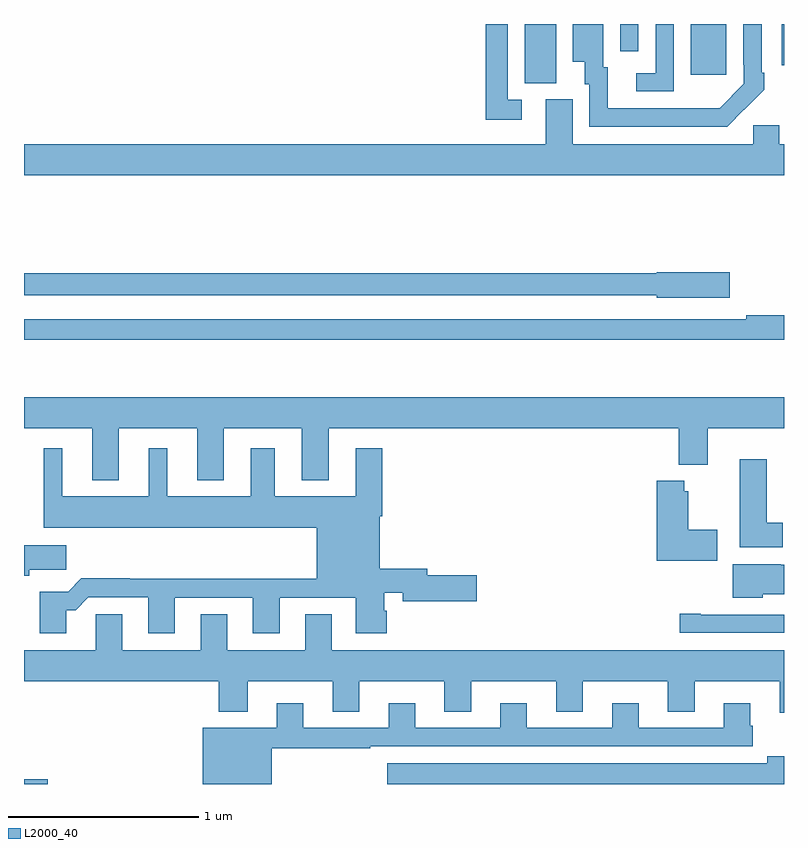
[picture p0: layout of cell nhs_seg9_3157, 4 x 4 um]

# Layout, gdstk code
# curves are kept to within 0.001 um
import gdstk
lib = gdstk.Library(unit=1e-6, precision=1e-09)
def R(c, l, rs):  # rectangles x0, y0, x1, y1
    for r in rs: c.add(gdstk.rectangle(r[:2], r[2:], *l))
def P(c, l, *ps):  # polygons
    for p in ps: c.add(gdstk.Polygon(p, *l))
L2000_40 = (2000, 40)

nhs_seg9_3157 = lib.new_cell('nhs_seg9_3157')
R(nhs_seg9_3157, L2000_40, [(291,1242.5,291.124,1242.524), (293.636,1246.189,293.8,1246.5), (294.509,1246.233,294.697,1246.5), (294.987,1246.284,295,1246.5), (294.138,1246.356,294.234,1246.5)])
P(nhs_seg9_3157, L2000_40, [(293.62,1246.101),(293.547,1246.101),(293.547,1246.5),(293.431,1246.5),(293.431,1245.996),(293.62,1245.996)],
  [(294.42,1246.5),(294.324,1246.5),(294.324,1246.242),(294.222,1246.242),(294.222,1246.146),(294.42,1246.146)],
  [(294.791,1246.051),(294.792,1246.05),(294.897,1246.155),(294.897,1246.243),(294.882,1246.243),(294.882,1246.5),(294.786,1246.5),(294.786,1246.285),(294.789,1246.285),(294.789,1246.185),(294.661,1246.057),(294.557,1246.056),(294.073,1246.056),(294.073,1246.272),(294.049,1246.272),(294.049,1246.498),(293.888,1246.498),(293.888,1246.301),(293.951,1246.301),(293.951,1246.182),(293.976,1246.182),(293.976,1245.96),(294.7,1245.96)],
  [(295,1245.868),(294.976,1245.868),(294.976,1245.966),(294.837,1245.966),(294.837,1245.868),(293.887,1245.868),(293.887,1246.104),(293.747,1246.104),(293.747,1245.868),(291,1245.868),(291,1245.704),(295,1245.704)],
  [(294.715,1245.194),(294.33,1245.194),(294.33,1245.188),(291,1245.188),(291,1245.072),(294.33,1245.072),(294.33,1245.059),(294.715,1245.059)],
  [(295,1244.966),(294.802,1244.966),(294.802,1244.946),(291,1244.946),(291,1244.838),(295,1244.838)],
  [(291.499,1244.372),(291.911,1244.372),(291.911,1244.099),(292.051,1244.099),(292.051,1244.372),(292.463,1244.372),(292.463,1244.099),(292.603,1244.099),(292.603,1244.372),(294.446,1244.372),(294.446,1244.18),(294.598,1244.18),(294.598,1244.372),(295,1244.372),(295,1244.536),(291,1244.536),(291,1244.372),(291.359,1244.372),(291.359,1244.099),(291.499,1244.099)],
  [(291.223,1243.415),(291.272,1243.415),(291.339,1243.482),(291.653,1243.482),(291.653,1243.293),(291.793,1243.293),(291.793,1243.479),(292.205,1243.479),(292.205,1243.293),(292.345,1243.293),(292.345,1243.479),(292.745,1243.479),(292.745,1243.293),(292.91,1243.293),(292.91,1243.413),(292.897,1243.413),(292.897,1243.506),(292.994,1243.506),(292.994,1243.463),(293.383,1243.463),(293.383,1243.598),(293.122,1243.598),(293.122,1243.634),(292.873,1243.634),(292.873,1243.91),(292.886,1243.91),(292.886,1244.266),(292.745,1244.266),(292.745,1244.014),(292.321,1244.014),(292.321,1244.266),(292.193,1244.266),(292.193,1244.014),(291.754,1244.014),(291.754,1244.266),(291.656,1244.266),(291.656,1244.014),(291.202,1244.014),(291.202,1244.266),(291.104,1244.266),(291.104,1243.85),(292.541,1243.85),(292.541,1243.58),(291.557,1243.58),(291.557,1243.583),(291.302,1243.583),(291.232,1243.513),(291.083,1243.513),(291.083,1243.293),(291.223,1243.293)],
  [(294.994,1243.876),(294.91,1243.876),(294.91,1244.209),(294.767,1244.209),(294.767,1243.745),(294.994,1243.745)],
  [(294.649,1243.839),(294.496,1243.839),(294.496,1244.041),(294.474,1244.041),(294.474,1244.095),(294.329,1244.095),(294.329,1243.676),(294.649,1243.676)],
  [(291.028,1243.627),(291.223,1243.627),(291.223,1243.756),(291,1243.756),(291,1243.595),(291.028,1243.595)],
  [(294.888,1243.499),(295,1243.499),(295,1243.653),(294.983,1243.653),(294.983,1243.657),(294.731,1243.657),(294.731,1243.481),(294.888,1243.481)],
  [(295,1243.392),(294.562,1243.392),(294.562,1243.397),(294.45,1243.397),(294.45,1243.296),(295,1243.296)],
  [(295,1243.204),(292.621,1243.204),(292.621,1243.394),(292.481,1243.394),(292.481,1243.204),(292.069,1243.204),(292.069,1243.394),(291.929,1243.394),(291.929,1243.204),(291.517,1243.204),(291.517,1243.394),(291.378,1243.394),(291.378,1243.204),(291,1243.204),(291,1243.04),(292.025,1243.04),(292.025,1242.881),(292.177,1242.881),(292.177,1243.04),(292.625,1243.04),(292.625,1242.88),(292.765,1242.88),(292.765,1243.04),(293.213,1243.04),(293.213,1242.88),(293.353,1242.88),(293.353,1243.04),(293.801,1243.04),(293.801,1242.88),(293.941,1242.88),(293.941,1243.04),(294.389,1243.04),(294.389,1242.88),(294.529,1242.88),(294.529,1243.04),(294.977,1243.04),(294.977,1242.876),(295,1242.876)],
  [(292.303,1242.687),(292.823,1242.687),(292.823,1242.699),(294.836,1242.699),(294.836,1242.807),(294.823,1242.807),(294.823,1242.925),(294.683,1242.925),(294.683,1242.795),(294.235,1242.795),(294.235,1242.925),(294.095,1242.925),(294.095,1242.795),(293.647,1242.795),(293.647,1242.925),(293.507,1242.925),(293.507,1242.795),(293.059,1242.795),(293.059,1242.925),(292.919,1242.925),(292.919,1242.795),(292.471,1242.795),(292.471,1242.925),(292.331,1242.925),(292.331,1242.796),(291.941,1242.796),(291.941,1242.5),(292.303,1242.5)],
  [(295,1242.646),(294.911,1242.646),(294.911,1242.61),(292.911,1242.61),(292.911,1242.5),(295,1242.5)])

lib.write_gds('nhs_seg9_3157.gds')
